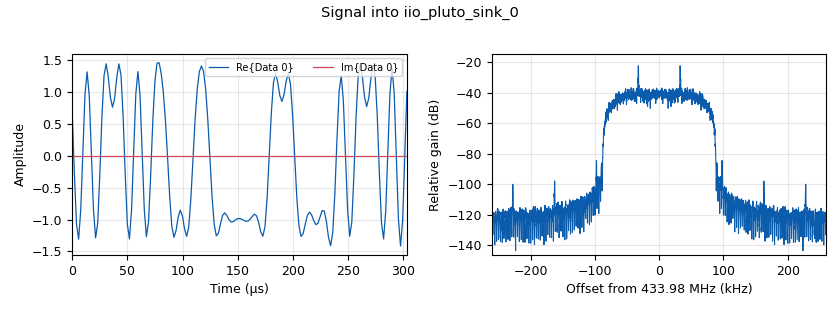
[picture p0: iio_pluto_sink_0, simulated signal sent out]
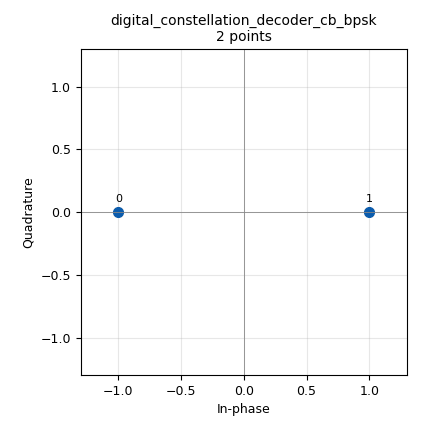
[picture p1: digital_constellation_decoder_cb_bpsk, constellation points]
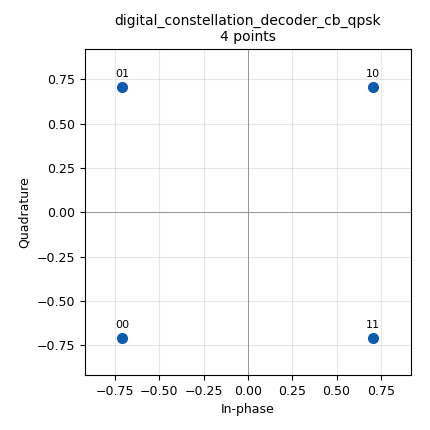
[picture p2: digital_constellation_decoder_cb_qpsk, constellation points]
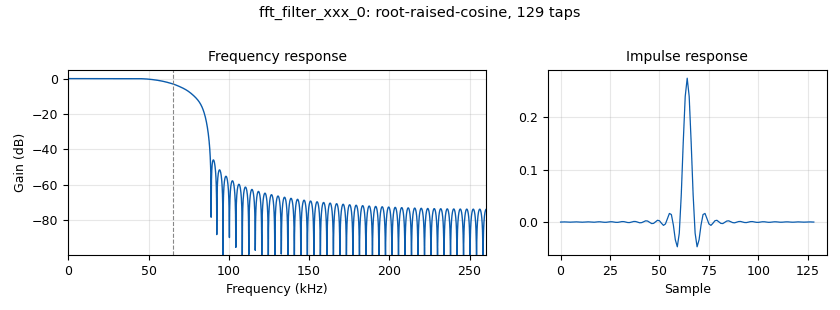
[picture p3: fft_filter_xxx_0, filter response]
options:
  parameters:
    author: mushab404
    description: PHY4 Transceiver with Pluto TX, BladeRF/Pluto/RTL-SDR RX, Parallel BPSK & QPSK, Correlation Estimator, and Adaptive Equalizer
    generate_options: qt_gui
    id: cdp_transceiver_pluto_bladerf
    output_language: python
    title: 'PHY4 Dual-Mode Transceiver: Pluto TX & BladeRF RX'
  states: {}

blocks:
- name: ADDR_PLUTO
  id: variable_qtgui_entry
  parameters:
    gui_hint: 0,0,1,1
    label: Pluto URI / IP
    type: string
    value: '"ip:192.168.1.10"'
  states: {}
- name: SDR_CF
  id: variable_qtgui_range
  parameters:
    gui_hint: 0,1,1,1
    label: Center Frequency (Hz)
    start: 70e6
    step: 1e5
    stop: 6e9
    value: 433.98e6
  states: {}
- name: TX_GAIN
  id: variable_qtgui_range
  parameters:
    gui_hint: 1,0,1,1
    label: Pluto TX Attenuation (dB)
    start: '0'
    step: '1'
    stop: '60'
    value: '20'
  states: {}
- name: RX_GAIN
  id: variable_qtgui_range
  parameters:
    gui_hint: 1,1,1,1
    label: BladeRF RX Gain (dB)
    start: '0'
    step: '1'
    stop: '73'
    value: '50'
  states: {}
- name: samp_rate
  id: variable
  parameters:
    value: '520833'
  states: {}
- name: sps
  id: variable
  parameters:
    value: '4'
  states: {}
- name: alpha
  id: variable
  parameters:
    value: '0.35'
  states: {}
- name: payload_size
  id: variable
  parameters:
    value: '64'
  states: {}
- name: preamble_size
  id: variable
  parameters:
    value: '32'
  states: {}
- name: fll_loop_bw
  id: variable_qtgui_range
  parameters:
    gui_hint: 2,0,1,1
    label: FLL Loop BW
    start: '0.001'
    step: '0.002'
    stop: '0.1'
    value: '0.0314'
  states: {}
- name: costas_bw
  id: variable_qtgui_range
  parameters:
    gui_hint: 2,1,1,1
    label: Costas Loop BW
    start: '0.01'
    step: '0.005'
    stop: '0.2'
    value: '0.0628'
  states: {}
- name: sym_bw
  id: variable_qtgui_range
  parameters:
    gui_hint: 3,0,1,1
    label: Symbol Sync Loop BW
    start: '0.005'
    step: '0.002'
    stop: '0.15'
    value: '0.025'
  states: {}
- name: rcc_taps
  id: variable_rrc_filter_taps
  parameters:
    alpha: alpha
    gain: '1.0'
    ntaps: 32*sps
    samp_rate: samp_rate
    sym_rate: samp_rate/sps
  states: {}
- name: BPSK_CONST
  id: variable_constellation_rect
  parameters:
    const_points: '[-1+0j, 1+0j]'
    imag_sect: '2'
    real_sect: '2'
    rot_sym: '2'
    sym_map: '[0, 1]'
    w_imag_sect: '1'
    w_real_sect: '1'
  states: {}
- name: QPSK_CONST
  id: variable_constellation_rect
  parameters:
    const_points: '[-1-1j, -1+1j, 1+1j, 1-1j]'
    imag_sect: '2'
    real_sect: '2'
    rot_sym: '4'
    sym_map: '[0, 1, 3, 2]'
    w_imag_sect: '1'
    w_real_sect: '1'
  states: {}
- name: hdr
  id: variable
  parameters:
    value: digital.header_format_default(digital.packet_utils.default_access_code, 0)
  states: {}
- name: training_seq
  id: variable
  parameters:
    value: '[(-1.0 if (i % 2 == 0) else 1.0) + 0j for i in range(48)]'
  states: {}
- name: adpt_alg
  id: variable_adaptive_algorithm
  parameters:
    cons: QPSK_CONST
    modulus: '1'
    step_size: '0.001'
    type: cma
  states: {}
- name: analog_random_source_x_0
  id: analog_random_source_x
  parameters:
    max: '256'
    min: '0'
    num_samps: '1000'
    repeat: 'True'
    type: byte
  states: {}
- name: blocks_stream_to_tagged_stream_0
  id: blocks_stream_to_tagged_stream
  parameters:
    len_tag_key: '"packet_len"'
    packet_len: payload_size
    type: byte
  states: {}
- name: digital_crc32_bb_0
  id: digital_crc32_bb
  parameters:
    check: 'False'
    length_tag_key: '"packet_len"'
    packed: 'True'
  states: {}
- name: digital_protocol_formatter_bb_0
  id: digital_protocol_formatter_bb
  parameters:
    format: hdr
    len_tag_key: '"packet_len"'
  states: {}
- name: analog_random_source_x_preamble
  id: analog_random_source_x
  parameters:
    max: '86'
    min: '85'
    num_samps: '1000'
    repeat: 'True'
    type: byte
  states: {}
- name: blocks_stream_to_tagged_stream_preamble
  id: blocks_stream_to_tagged_stream
  parameters:
    len_tag_key: '"packet_len"'
    packet_len: preamble_size
    type: byte
  states: {}
- name: blocks_tagged_stream_mux_0
  id: blocks_tagged_stream_mux
  parameters:
    lengthtagname: '"packet_len"'
    ninputs: '3'
    type: byte
  states: {}
- name: digital_constellation_modulator_bpsk
  id: digital_constellation_modulator
  parameters:
    comment: BPSK Transmit Modulator
    constellation: BPSK_CONST
    differential: 'True'
    excess_bw: alpha
    samples_per_symbol: sps
  states: {}
- name: digital_constellation_modulator_qpsk
  id: digital_constellation_modulator
  parameters:
    comment: QPSK Transmit Modulator (Parallel)
    constellation: QPSK_CONST
    differential: 'True'
    excess_bw: alpha
    samples_per_symbol: sps
  states: {state: disabled}
- name: iio_pluto_sink_0
  id: iio_pluto_sink
  parameters:
    attenuation1: TX_GAIN
    bandwidth: '20000000'
    buffer_size: '32768'
    comment: 'Transmitter: Analog Devices Adalm-Pluto SDR'
    cyclic: 'False'
    filter_source: '''Auto'''
    frequency: int(SDR_CF)
    samplerate: int(samp_rate)
    type: fc32
    uri: ADDR_PLUTO
  states: {}
- name: soapy_bladerf_sink_0
  id: soapy_bladerf_sink
  parameters:
    center_freq: SDR_CF
    comment: Optional Alternate BladeRF Transmitter
    dev_args: '"driver=bladerf"'
    gain: TX_GAIN
    samp_rate: samp_rate
    type: fc32
  states: {state: disabled}
- name: soapy_bladerf_source_0
  id: soapy_bladerf_source
  parameters:
    center_freq: SDR_CF
    comment: 'Primary Receiver: Nuand bladeRF SDR'
    dev_args: '"driver=bladerf"'
    gain: RX_GAIN
    samp_rate: samp_rate
    type: fc32
  states: {}
- name: iio_pluto_source_0
  id: iio_pluto_source
  parameters:
    bandwidth: '20000000'
    bbdc: 'True'
    buffer_size: '32768'
    comment: 'Alternate Receiver: Adalm-Pluto SDR'
    filter_source: '''Auto'''
    frequency: int(SDR_CF)
    gain1: '''manual'''
    manual_gain1: RX_GAIN
    quadrature: 'True'
    rfdc: 'True'
    samplerate: int(samp_rate)
    type: fc32
    uri: ADDR_PLUTO
  states: {state: disabled}
- name: soapy_rtlsdr_source_0
  id: soapy_rtlsdr_source
  parameters:
    center_freq: SDR_CF
    comment: 'Alternate Receiver: RTL-SDR USB Dongle'
    dev_args: '"driver=rtlsdr"'
    gain: RX_GAIN
    samp_rate: samp_rate
    type: fc32
  states: {state: disabled}
- name: analog_agc_xx_0
  id: analog_agc_xx
  parameters:
    gain: '1.0'
    max_gain: '65536'
    rate: '1e-2'
    reference: '1.0'
    type: complex
  states: {}
- name: digital_fll_band_edge_cc_0
  id: digital_fll_band_edge_cc
  parameters:
    filter_size: 2*sps+1
    rolloff: alpha
    samps_per_sym: sps
    type: cc
    w: fll_loop_bw
  states: {}
- name: fft_filter_xxx_0
  id: fft_filter_xxx
  parameters:
    decim: '1'
    taps: rcc_taps
    type: ccc
  states: {}
- name: digital_symbol_sync_xx_0
  id: digital_symbol_sync_xx
  parameters:
    comment: Symbol Timing Synchronization (y·y' ML TED)
    damping: '1.0'
    loop_bw: sym_bw
    max_dev: '1.5'
    osps: '1'
    resamp_type: digital.IR_MMSE_8TAP
    sps: sps
    ted_gain: '1.0'
    ted_type: digital.TED_SIGNAL_TIMES_SLOPE_ML
    type: cc
  states: {}
- name: digital_corr_est_cc_0
  id: digital_corr_est_cc
  parameters:
    comment: Correlation Estimator Frame Sync
    mark_delay: len(training_seq)-1
    sps: '1'
    symbols: training_seq
    threshold: '0.8'
    threshold_method: digital.THRESHOLD_ABSOLUTE
  states: {}
- name: digital_linear_equalizer_0
  id: digital_linear_equalizer
  parameters:
    alg: adpt_alg
    comment: Linear Adaptive Channel Equalizer
    num_taps: '11'
    sps: '1'
    training_sequence: training_seq
    training_start_tag: '"corr_est"'
  states: {}
- name: digital_costas_loop_cc_bpsk
  id: digital_costas_loop_cc
  parameters:
    comment: BPSK Carrier Recovery (Order 2)
    order: '2'
    w: costas_bw
  states: {}
- name: digital_constellation_decoder_cb_bpsk
  id: digital_constellation_decoder_cb
  parameters:
    constellation: BPSK_CONST
  states: {}
- name: digital_diff_decoder_bb_bpsk
  id: digital_diff_decoder_bb
  parameters:
    modulus: '2'
    type: byte
  states: {}
- name: digital_correlate_access_code_xx_ts_bpsk
  id: digital_correlate_access_code_xx_ts
  parameters:
    access_code: digital.packet_utils.default_access_code
    tagname: '"packet_len"'
    threshold: '2'
    type: byte
  states: {}
- name: blocks_repack_bits_bb_bpsk
  id: blocks_repack_bits_bb
  parameters:
    endianness: gr.GR_MSB_FIRST
    k: '1'
    l: '8'
    len_tag_key: '"packet_len"'
  states: {}
- name: digital_crc32_bb_rx_bpsk
  id: digital_crc32_bb
  parameters:
    check: 'True'
    length_tag_key: '"packet_len"'
    packed: 'True'
  states: {}
- name: pdu_tagged_stream_to_pdu_bpsk
  id: pdu_tagged_stream_to_pdu
  parameters:
    tag: '"packet_len"'
    type: byte
  states: {}
- name: blocks_message_debug_bpsk
  id: blocks_message_debug
  parameters: {}
  states: {}
- name: digital_costas_loop_cc_qpsk
  id: digital_costas_loop_cc
  parameters:
    comment: QPSK Carrier Recovery (Order 4)
    order: '4'
    w: costas_bw
  states: {}
- name: digital_constellation_decoder_cb_qpsk
  id: digital_constellation_decoder_cb
  parameters:
    constellation: QPSK_CONST
  states: {}
- name: digital_diff_decoder_bb_qpsk
  id: digital_diff_decoder_bb
  parameters:
    modulus: '4'
    type: byte
  states: {}
- name: digital_map_bb_qpsk
  id: digital_map_bb
  parameters:
    map: '[0, 1, 3, 2]'
  states: {}
- name: blocks_unpack_k_bits_bb_qpsk
  id: blocks_unpack_k_bits_bb
  parameters:
    k: '2'
  states: {}
- name: digital_correlate_access_code_xx_ts_qpsk
  id: digital_correlate_access_code_xx_ts
  parameters:
    access_code: digital.packet_utils.default_access_code
    tagname: '"packet_len"'
    threshold: '2'
    type: byte
  states: {}
- name: blocks_repack_bits_bb_qpsk
  id: blocks_repack_bits_bb
  parameters:
    endianness: gr.GR_MSB_FIRST
    k: '1'
    l: '8'
    len_tag_key: '"packet_len"'
  states: {}
- name: digital_crc32_bb_rx_qpsk
  id: digital_crc32_bb
  parameters:
    check: 'True'
    length_tag_key: '"packet_len"'
    packed: 'True'
  states: {}
- name: pdu_tagged_stream_to_pdu_qpsk
  id: pdu_tagged_stream_to_pdu
  parameters:
    tag: '"packet_len"'
    type: byte
  states: {}
- name: blocks_message_debug_qpsk
  id: blocks_message_debug
  parameters: {}
  states: {}
- name: qtgui_const_sink_x_0
  id: qtgui_const_sink_x
  parameters:
    grid: 'True'
    gui_hint: 4,0,1,1
    label1: BPSK Constellation
    label2: QPSK Constellation
    nconnections: '2'
    size: '1024'
    type: complex
  states: {}
- name: qtgui_freq_sink_x_0
  id: qtgui_freq_sink_x
  parameters:
    bw: samp_rate
    fc: '0'
    fftsize: '1024'
    grid: 'True'
    gui_hint: 4,1,1,1
    label1: RX RF Spectrum
    norm_type: qtgui.NORM_TYPE_FACTOR
    type: complex
  states: {}

connections:
- [analog_agc_xx_0, '0', digital_fll_band_edge_cc_0, '0']
- [analog_random_source_x_0, '0', blocks_stream_to_tagged_stream_0, '0']
- [analog_random_source_x_preamble, '0', blocks_stream_to_tagged_stream_preamble, '0']
- [blocks_repack_bits_bb_bpsk, '0', digital_crc32_bb_rx_bpsk, '0']
- [blocks_repack_bits_bb_qpsk, '0', digital_crc32_bb_rx_qpsk, '0']
- [blocks_stream_to_tagged_stream_0, '0', digital_crc32_bb_0, '0']
- [blocks_stream_to_tagged_stream_preamble, '0', blocks_tagged_stream_mux_0, '0']
- [blocks_tagged_stream_mux_0, '0', digital_constellation_modulator_bpsk, '0']
- [blocks_unpack_k_bits_bb_qpsk, '0', digital_correlate_access_code_xx_ts_qpsk, '0']
- [digital_constellation_decoder_cb_bpsk, '0', digital_diff_decoder_bb_bpsk, '0']
- [digital_constellation_decoder_cb_qpsk, '0', digital_diff_decoder_bb_qpsk, '0']
- [digital_constellation_modulator_bpsk, '0', iio_pluto_sink_0, '0']
- [digital_corr_est_cc_0, '0', digital_linear_equalizer_0, '0']
- [digital_correlate_access_code_xx_ts_bpsk, '0', blocks_repack_bits_bb_bpsk, '0']
- [digital_correlate_access_code_xx_ts_qpsk, '0', blocks_repack_bits_bb_qpsk, '0']
- [digital_costas_loop_cc_bpsk, '0', digital_constellation_decoder_cb_bpsk, '0']
- [digital_costas_loop_cc_bpsk, '0', qtgui_const_sink_x_0, '0']
- [digital_costas_loop_cc_qpsk, '0', digital_constellation_decoder_cb_qpsk, '0']
- [digital_costas_loop_cc_qpsk, '0', qtgui_const_sink_x_0, '1']
- [digital_crc32_bb_0, '0', blocks_tagged_stream_mux_0, '2']
- [digital_crc32_bb_0, '0', digital_protocol_formatter_bb_0, '0']
- [digital_crc32_bb_rx_bpsk, '0', pdu_tagged_stream_to_pdu_bpsk, '0']
- [digital_crc32_bb_rx_qpsk, '0', pdu_tagged_stream_to_pdu_qpsk, '0']
- [digital_diff_decoder_bb_bpsk, '0', digital_correlate_access_code_xx_ts_bpsk, '0']
- [digital_diff_decoder_bb_qpsk, '0', digital_map_bb_qpsk, '0']
- [digital_fll_band_edge_cc_0, '0', fft_filter_xxx_0, '0']
- [digital_linear_equalizer_0, '0', digital_costas_loop_cc_bpsk, '0']
- [digital_linear_equalizer_0, '0', digital_costas_loop_cc_qpsk, '0']
- [digital_map_bb_qpsk, '0', blocks_unpack_k_bits_bb_qpsk, '0']
- [digital_protocol_formatter_bb_0, '0', blocks_tagged_stream_mux_0, '1']
- [digital_symbol_sync_xx_0, '0', digital_corr_est_cc_0, '0']
- [fft_filter_xxx_0, '0', digital_symbol_sync_xx_0, '0']
- [pdu_tagged_stream_to_pdu_bpsk, pdus, blocks_message_debug_bpsk, print_pdu]
- [pdu_tagged_stream_to_pdu_qpsk, pdus, blocks_message_debug_qpsk, print_pdu]
- [soapy_bladerf_source_0, '0', analog_agc_xx_0, '0']
- [soapy_bladerf_source_0, '0', qtgui_freq_sink_x_0, '0']

metadata:
  file_format: 1
  grc_version: 3.10.12.0
